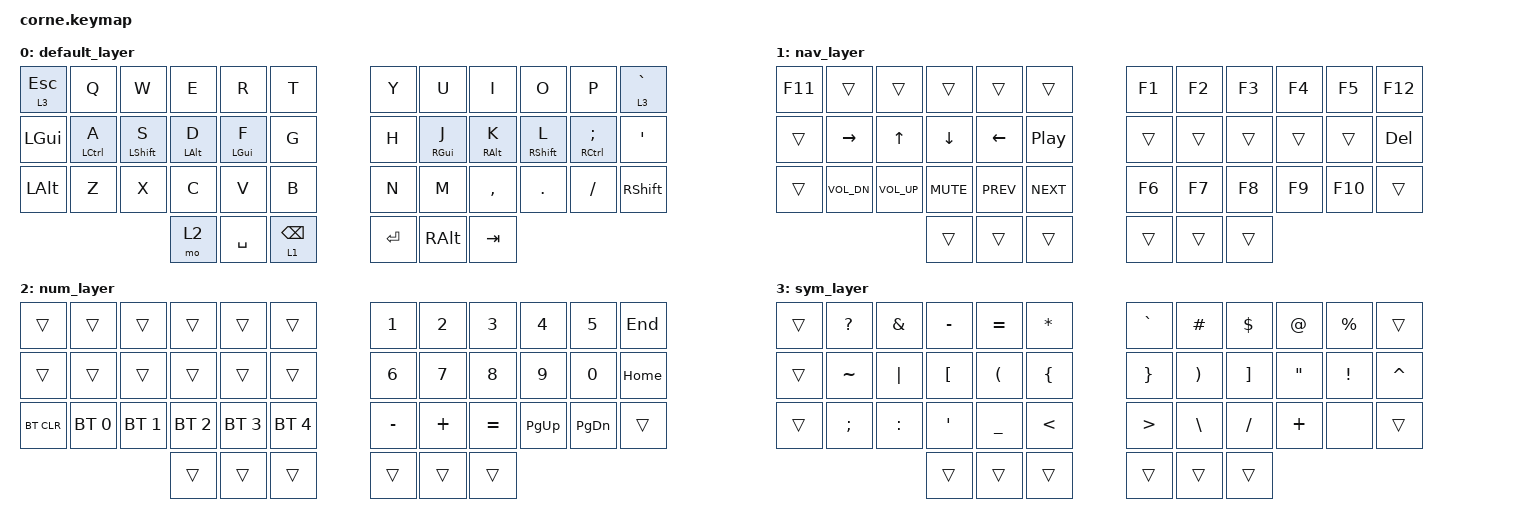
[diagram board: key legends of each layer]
/*
 * Corne 42-key layout — designed for macOS + Aerospace + Neovim
 *
 * Design goals:
 *   - Home row mods (urob "timeless" recipe: balanced + positional + hold-trigger-on-release)
 *   - Dedicated left Alt (Aerospace primary modifier) on left outer column
 *   - All numbers on the right hand (Cmd/Ctrl live on the left)
 *   - Nav arrows mirrored to left hand (FDSA) — Aerospace focus entirely left-handed,
 *     right hand stays on the mouse
 *   - Tab on a thumb (Cmd+Tab needs a thumb-position trigger)
 *   - Full unshifted symbol layer (coding never needs layer+shift)
 *
	      42 KEY MATRIX / LAYOUT MAPPING

  ╭────────────────────────┬────────────────────────╮ 
  │  0   1   2   3   4   5 │  6   7   8   9  10  11 │ 
  │ 12  13  14  15  16  17 │ 18  19  20  21  22  23 │ 
  │ 24  25  26  27  28  29 │ 30  31  32  33  34  35 │ 
  ╰───────────╮ 36  37  38 │ 39  40  41 ╭───────────╯ 
              ╰────────────┴────────────╯             
 */

#include <behaviors.dtsi>
#include <dt-bindings/zmk/keys.h>
#include <dt-bindings/zmk/bt.h>

#define KEYS_L 0 1 2 3 4 5 12 13 14 15 16 17 24 25 26 27 28 29
#define KEYS_R 6 7 8 9 10 11 18 19 20 21 22 23 30 31 32 33 34 35
#define THUMBS 36 37 38 39 40 41

/ {
    behaviors {
        // Left-hand home row mods. "balanced" + bilateral positions + release-based
        // triggers = urob's timeless HRM. Hold fires retroactively, so chords like
        // Cmd+number resolve correctly without waiting out the tapping term.
        hml: home_row_mod_left {
            compatible = "zmk,behavior-hold-tap";
            #binding-cells = <2>;
            flavor = "balanced";
            require-prior-idle-ms = <150>;
            tapping-term-ms = <280>;
            quick-tap-ms = <175>;
            bindings = <&kp>, <&kp>;
            hold-trigger-key-positions = <KEYS_R THUMBS>;
            hold-trigger-on-release;
        };
        hmr: home_row_mod_right {
            compatible = "zmk,behavior-hold-tap";
            #binding-cells = <2>;
            flavor = "balanced";
            require-prior-idle-ms = <150>;
            tapping-term-ms = <280>;
            quick-tap-ms = <175>;
            bindings = <&kp>, <&kp>;
            hold-trigger-key-positions = <KEYS_L THUMBS>;
            hold-trigger-on-release;
        };
        // Layer-tap tuned for layers (not mods): hold-preferred means the layer
        // activates as soon as you press another key while held — no 200ms wait
        // for alt+hjkl etc. quick-tap keeps backspace repeats snappy.
        lyr: layer_tap_hold {
            compatible = "zmk,behavior-hold-tap";
            #binding-cells = <2>;
            flavor = "hold-preferred";
            tapping-term-ms = <180>;
            quick-tap-ms = <150>;
            bindings = <&mo>, <&kp>;
        };
    };

    combos {
        compatible = "zmk,combos";
        // Both corner keys (ESC + GRV). Deliberately NOT on Alt+Shift —
        // alt+shift+arrows is the Aerospace move-window chord.
        combo_caps_word {
            timeout-ms = <50>;
            key-positions = <0 11>;
            bindings = <&caps_word>;
        };
    };

    keymap {
        compatible = "zmk,keymap";

        // ---------------------------------------------------------------------
        // BASE — QWERTY
        //   - LT3/ESC and LT3/GRV both open the symbol layer (either hand)
        //   - Left outer column: ESC(sym) / dedicated LGUI (macOS) / dedicated LALT
        //     (Aerospace). Both primary mods are plain keys: instant chords, no
        //     hold-tap cooldown after fast typing, no bilateral restrictions.
        //   - Thumbs: NUM layer | Space | NAV layer(=BSPC) | RET | RALT | TAB
        // ---------------------------------------------------------------------
        default_layer {
            bindings = <
   &lyr 3 ESC  &kp Q        &kp W        &kp E       &kp R       &kp T          &kp Y &kp U       &kp I       &kp O        &kp P           &lyr 3 GRAVE
   &kp LGUI    &hml LCTRL A &hml LSHFT S &hml LALT D &hml LGUI F &kp G          &kp H &hmr RGUI J &hmr RALT K &hmr RSHFT L &hmr RCTRL SEMI &kp SQT
   &kp LALT    &kp Z        &kp X        &kp C       &kp V       &kp B          &kp N &kp M       &kp COMMA   &kp DOT      &kp FSLH        &kp RSHFT
                                       &mo 2       &kp SPACE   &lyr 1 BSPC    &kp RET  &kp RALT &kp TAB
            >;
        };

        // ---------------------------------------------------------------------
        // NAV (hold BSPC-thumb) — arrows mirrored to LEFT hand (FDSA):
	//   f=left d=down s=up a=right (same finger roles as hjkl, mirrored)
	//   Also carries system keys: F1-F12 (right side), media (left bottom),
	//   forward-delete (23), Home/End — full TKL-style coverage.
	//   Mods stay ALIVE via &trans (J-RGUI for Cmd+arrows, 24=LALT).
	//   Aerospace focus entirely left-handed: right hand stays on the
	//   mouse.
        // ---------------------------------------------------------------------
        nav_layer {
            bindings = <
   &kp F11  &trans     &trans  &trans   &trans   &trans     &kp F1 &kp F2    &kp F3    &kp F4     &kp F5    &kp F12
   &trans  &kp RIGHT  &kp UP  &kp DOWN &kp LEFT &kp C_PLAY_PAUSE &trans &trans &trans &trans &trans &kp DEL
   &trans  &kp C_VOL_DN &kp C_VOL_UP &kp C_MUTE &kp C_PREV &kp C_NEXT &kp F6 &kp F7 &kp F8 &kp F9 &kp F10 &trans
                              &trans   &trans   &trans     &trans &trans    &trans
            >;
        };

	// ---------------------------------------------------------------------
	// NUM (hold left-thumb outer) — all 10 numbers on the RIGHT hand so
	// Cmd+num / Cmd+Opt+num / Alt+num are all cross-hand from left mods.
	// Bottom-right adds - + = (zoom chords) and PgUp/PgDn/Home/End, so all
	// number-pad-adjacent keys share one layer. same shape as Cmd+num
	// (both left-hand holds, right hand taps). Left home-row mods stay
	// ALIVE via &trans (F-GUI, D-ALT reachable while this layer is held).
	// BT profile switching on the left bottom.
	// ---------------------------------------------------------------------
        num_layer {
            bindings = <
   &trans     &trans       &trans       &trans       &trans       &trans         &kp N1 &kp N2    &kp N3    &kp N4     &kp N5    &kp END
   &trans     &trans       &trans       &trans       &trans       &trans         &kp N6 &kp N7    &kp N8    &kp N9     &kp N0    &kp HOME
   &bt BT_CLR &bt BT_SEL 0 &bt BT_SEL 1 &bt BT_SEL 2 &bt BT_SEL 3 &bt BT_SEL 4   &kp MINUS &kp PLUS &kp EQUAL &kp PG_UP &kp PG_DN &trans
                                     &trans       &trans       &trans         &trans &trans    &trans
            >;
        };

        // ---------------------------------------------------------------------
	// SYM (hold ESC-corner or GRV-corner) — all 30 symbols unshifted.
	// v2 arrangement, bigram-optimized (LAYOUT_DESIGN.md decision 7):
	//   - Bracket pairs split across hands, openers L / closers R, by
	//     frequency: () index homes (16/19), [] middle homes (15/20),
	//     {} adjacent inner homes (17/18), <> unchanged (29/30).
	//   - Math: - = left (3/4), > right (30) -> ->, =>, >=, +=, !=, ==
	//     all alternate hands.
	//   - Sigils # $ @ % right top (7-10): :%s, #include <, #{, ${, @[.
	//   - ~ left (13), / right (32): ~/, /* */, </ all cross-hand.
	//   - " right (21), ' left (27), _ left (28): {" ", ", ", ";, and
	//     Vim registers "+ / "_ stay cross-hand.
	// Backtick stays on the right (pos 6) so Cmd+` stays cross-hand via
	// corner 11. Pos 34 is intentionally &none; dedicated mods stay live
	// via &trans (12/24/35/40 + thumbs).
        // ---------------------------------------------------------------------
        sym_layer {
            bindings = <
   &trans &kp QMARK &kp AMPS  &kp MINUS &kp EQUAL &kp ASTRK   &kp GRAVE &kp HASH &kp DLLR &kp AT   &kp PRCNT &trans
   &trans &kp TILDE &kp PIPE  &kp LBKT  &kp LPAR  &kp LBRC    &kp RBRC  &kp RPAR &kp RBKT &kp DQT  &kp EXCL  &kp CARET
   &trans &kp SEMI  &kp COLON &kp SQT   &kp UNDER &kp LT      &kp GT    &kp BSLH &kp FSLH &kp PLUS &none     &trans
                              &trans   &trans    &trans      &trans   &trans    &trans
            >;
        };
    };
};
